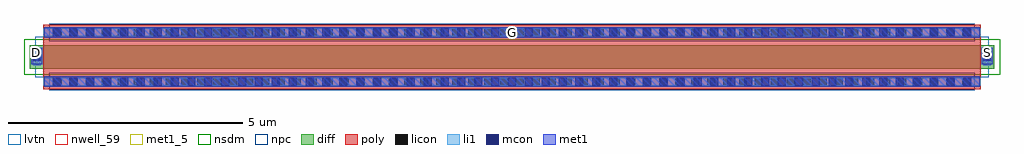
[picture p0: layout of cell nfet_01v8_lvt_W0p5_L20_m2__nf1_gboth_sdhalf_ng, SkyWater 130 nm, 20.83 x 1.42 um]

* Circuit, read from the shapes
.subckt nfet_01v8_lvt_W0p5_L20_m2__nf1_gboth_sdhalf_ng B D G S
XM1 S G D B sky130_fd_pr__nfet_01v8_lvt w=0.5 l=20
.ends

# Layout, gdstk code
import gdstk
lib = gdstk.Library(unit=1e-6, precision=1e-09)
def R(c, l, rs):  # rectangles x0, y0, x1, y1
    for r in rs: c.add(gdstk.rectangle(r[:2], r[2:], *l))
def A(c, l, x, y, w, h, nx, ny, dx, dy):  # array of equal rectangles
    R(c, l, [(x+i*dx, y+j*dy, x+i*dx+w, y+j*dy+h) for i in range(nx) for j in range(ny)])
nwell_59 = (64, 59)
diff = (65, 20)
poly = (66, 20)
licon = (66, 44)
li1 = (67, 20)
mcon = (67, 44)
met1_5 = (68, 5)
met1 = (68, 20)
nsdm = (93, 44)
npc = (95, 20)
lvtn = (125, 44)

sky130_fd_pr__nfet_01v8_ = lib.new_cell('sky130_fd_pr__nfet_01v8_lvt_HD5KP8')
R(sky130_fd_pr__nfet_01v8_, diff, [(-10.29,-0.25,10.29,0.25)])
R(sky130_fd_pr__nfet_01v8_, poly, [(-10,-0.69,10,0.69)])
A(sky130_fd_pr__nfet_01v8_, licon, -9.775, -0.61, 0.17, 0.17, 58, 2, 0.34, 1.05)
R(sky130_fd_pr__nfet_01v8_, licon, [(-10.23,-0.085,-10.06,0.085), (10.06,-0.085,10.23,0.085)])
R(sky130_fd_pr__nfet_01v8_, li1, [(-10,-0.61,10,-0.44), (-10.23,-0.175,-10.06,0.175), (10.06,-0.175,10.23,0.175), (-10,0.44,10,0.61)])
A(sky130_fd_pr__nfet_01v8_, mcon, -9.805, -0.61, 0.17, 0.17, 55, 2, 0.36, 1.05)
R(sky130_fd_pr__nfet_01v8_, mcon, [(-10.23,-0.085,-10.06,0.085), (10.06,-0.085,10.23,0.085)])
R(sky130_fd_pr__nfet_01v8_, met1, [(-9.98,-0.64,9.98,-0.41), (-10.26,-0.155,-10.03,0.155), (10.03,-0.155,10.26,0.155), (-9.98,0.41,9.98,0.64)])
R(sky130_fd_pr__nfet_01v8_, nsdm, [(-10.415,-0.375,10.415,0.375)])
R(sky130_fd_pr__nfet_01v8_, npc, [(-9.875,-0.71,9.875,-0.34), (-9.875,0.34,9.875,0.71)])
R(sky130_fd_pr__nfet_01v8_, lvtn, [(-10.18,-0.43,10.18,0.43)])
sky130_fd_pr__nfet_01v8_.add(gdstk.Label('D', (-10.145,0), layer=67, texttype=5))
sky130_fd_pr__nfet_01v8_.add(gdstk.Label('S', (10.145,0), layer=67, texttype=5))
sky130_fd_pr__nfet_01v8_.add(gdstk.Label('G', (0,0.525), layer=67, texttype=5))

nfet_01v8_lvt_w0p5_l20_m = lib.new_cell('nfet_01v8_lvt_W0p5_L20_m2__nf1_gboth_sdhalf_ng')
R(nfet_01v8_lvt_w0p5_l20_m, nwell_59, [(0.05,0.64,0.15,0.74)])
R(nfet_01v8_lvt_w0p5_l20_m, met1_5, [(0.03,0.69,0.26,0.89), (20.32,0.69,20.55,0.89), (0.31,1.1,20.27,1.33)])
R(nfet_01v8_lvt_w0p5_l20_m, met1, [(0.03,0.69,0.26,0.89), (20.32,0.69,20.55,0.89), (0.31,1.1,20.27,1.33)])
nfet_01v8_lvt_w0p5_l20_m.add(gdstk.Reference(sky130_fd_pr__nfet_01v8_, (10.29,0.69)))
nfet_01v8_lvt_w0p5_l20_m.add(gdstk.Label('D', (0.145,0.79), layer=68, texttype=5))
nfet_01v8_lvt_w0p5_l20_m.add(gdstk.Label('S', (20.435,0.79), layer=68, texttype=5))
nfet_01v8_lvt_w0p5_l20_m.add(gdstk.Label('G', (10.29,1.215), layer=68, texttype=5))
nfet_01v8_lvt_w0p5_l20_m.add(gdstk.Label('B', (0.1,0.69), layer=64, texttype=59))

lib.write_gds('nfet_01v8_lvt_W0p5_L20_m2__nf1_gboth_sdhalf_ng.gds')
